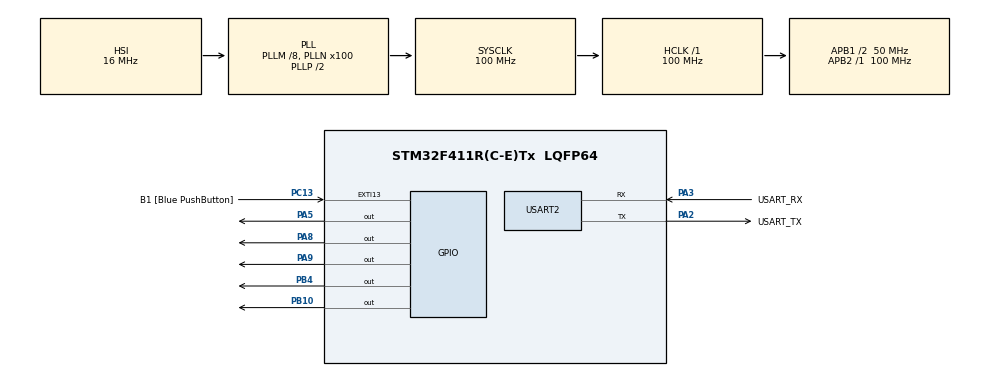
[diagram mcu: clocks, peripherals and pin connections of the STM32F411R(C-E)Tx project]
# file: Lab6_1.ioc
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FREERTOS.Mutexes01=UartMutex,Dynamic,NULL,Available
FREERTOS.Queues01=myQueue01,16,uint32_t,0,Dynamic,NULL,NULL
FREERTOS.Tasks01=defaultTask,0,128,StartDefaultTask,Default,NULL,Dynamic,NULL,NULL
Mcu.Family=STM32F4
Mcu.Name=STM32F411R(C-E)Tx
Mcu.Package=LQFP64
NVIC.PriorityGroup=NVIC_PRIORITYGROUP_4
PA13.GPIO_Label=TMS
PA13.Mode=Serial_Wire
PA13.Signal=SYS_JTMS-SWDIO
PA14.GPIO_Label=TCK
PA14.Mode=Serial_Wire
PA14.Signal=SYS_JTCK-SWCLK
PA2.GPIO_Label=USART_TX
PA2.Mode=Asynchronous
PA2.Signal=USART2_TX
PA3.GPIO_Label=USART_RX
PA3.Mode=Asynchronous
PA3.Signal=USART2_RX
PA5.Signal=GPIO_Output
PA8.Signal=GPIO_Output
PA9.Signal=GPIO_Output
PB10.Signal=GPIO_Output
PB3.GPIO_Label=SWO
PB3.Signal=SYS_JTDO-SWO
PB4.Signal=GPIO_Output
PC13-ANTI_TAMP.GPIO_Label=B1 [Blue PushButton]
PC13-ANTI_TAMP.GPIO_ModeDefaultEXTI=GPIO_MODE_IT_FALLING
PC13-ANTI_TAMP.Signal=GPXTI13
PC14-OSC32_IN.Mode=LSE-External-Oscillator
PC14-OSC32_IN.Signal=RCC_OSC32_IN
PC15-OSC32_OUT.Mode=LSE-External-Oscillator
PC15-OSC32_OUT.Signal=RCC_OSC32_OUT
PH0\ -\ OSC_IN.Mode=HSE-External-Clock-Source
PH0\ -\ OSC_IN.Signal=RCC_OSC_IN
PH1\ -\ OSC_OUT.Mode=HSE-External-Clock-Source
PH1\ -\ OSC_OUT.Signal=RCC_OSC_OUT
ProjectManager.HeapSize=0x200
ProjectManager.StackSize=0x400
ProjectManager.TargetToolchain=STM32CubeIDE
RCC.48MHZClocksFreq_Value=50000000
RCC.AHBFreq_Value=100000000
RCC.APB1CLKDivider=RCC_HCLK_DIV2
RCC.APB1Freq_Value=50000000
RCC.APB1TimFreq_Value=100000000
RCC.APB2Freq_Value=100000000
RCC.APB2TimFreq_Value=100000000
RCC.CortexFreq_Value=100000000
RCC.FLatency-AdvancedSettings=FLASH_LATENCY_3
RCC.HCLKFreq_Value=100000000
RCC.HSE_VALUE=8000000
RCC.HSI_VALUE=16000000
RCC.PLLM=8
RCC.PLLN=100
RCC.SYSCLKFreq_VALUE=100000000
RCC.SYSCLKSource=RCC_SYSCLKSOURCE_PLLCLK
RCC.VCOOutputFreq_Value=200000000
USART2.VirtualMode=VM_ASYNC
VP_FREERTOS_VS_CMSIS_V1.Mode=CMSIS_V1
board=NUCLEO-F411RE

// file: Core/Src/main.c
/* USER CODE BEGIN Header */
/**
  ******************************************************************************
  * @file           : main.c
  * @brief          : Main program body
  ******************************************************************************
  * @attention
  *
  * Copyright (c) 2026 STMicroelectronics.
  * All rights reserved.
  *
  * This software is licensed under terms that can be found in the LICENSE file
  * in the root directory of this software component.
  * If no LICENSE file comes with this software, it is provided AS-IS.
  *
  ******************************************************************************
  */
/* USER CODE END Header */
#include "main.h"
#include "cmsis_os.h"

UART_HandleTypeDef huart2;

osThreadId defaultTaskHandle;
/* USER CODE BEGIN PV */
osThreadId thread1Handle;
osThreadId thread2Handle;
osThreadId thread3Handle;
osThreadId thread4Handle;
/* USER CODE END PV */

void SystemClock_Config(void);
static void MX_GPIO_Init(void);
static void MX_USART2_UART_Init(void);
void StartDefaultTask(void const * argument);

/* USER CODE BEGIN PFP */
void Thread1_50ms(void const *argument);
void Thread2_18ms(void const *argument);
void Thread3_128ms(void const *argument);
void Thread4_64ms(void const *argument);
/* USER CODE END PFP */

int main(void)
{

  /* MCU Configuration--------------------------------------------------------*/

  /* Reset of all peripherals, Initializes the Flash interface and the Systick. */
  HAL_Init();

  /* Configure the system clock */
  SystemClock_Config();

  /* Initialize all configured peripherals */
  MX_GPIO_Init();
  MX_USART2_UART_Init();
  /* USER CODE BEGIN 2 */

  // Thread 1 (50 ms)
  osThreadDef(Task1, Thread1_50ms, osPriorityNormal, 0, 128);
  thread1Handle = osThreadCreate(osThread(Task1), NULL);

  // Thread 2 (18 ms)
  osThreadDef(Task2, Thread2_18ms, osPriorityNormal, 0, 128);
  thread2Handle = osThreadCreate(osThread(Task2), NULL);

  // Thread 3 (128 ms)
  osThreadDef(Task3, Thread3_128ms, osPriorityNormal, 0, 128);
  thread3Handle = osThreadCreate(osThread(Task3), NULL);

  // Thread 4 (64 ms)
  osThreadDef(Task4, Thread4_64ms, osPriorityNormal, 0, 128);
  thread4Handle = osThreadCreate(osThread(Task4), NULL);

  /* USER CODE END 2 */

  /* Create the thread(s) */
  /* definition and creation of defaultTask */
  osThreadDef(defaultTask, StartDefaultTask, osPriorityNormal, 0, 128);
  defaultTaskHandle = osThreadCreate(osThread(defaultTask), NULL);

  /* Start scheduler */
  osKernelStart();

  /* We should never get here as control is now taken by the scheduler */

  /* Infinite loop */
  while (1)
  {

  }
}

void SystemClock_Config(void)
{
  RCC_OscInitTypeDef RCC_OscInitStruct = {0};
  RCC_ClkInitTypeDef RCC_ClkInitStruct = {0};

  /** Configure the main internal regulator output voltage
  */
  __HAL_RCC_PWR_CLK_ENABLE();
  __HAL_PWR_VOLTAGESCALING_CONFIG(PWR_REGULATOR_VOLTAGE_SCALE1);

  /** Initializes the RCC Oscillators according to the specified parameters
  * in the RCC_OscInitTypeDef structure.
  */
  RCC_OscInitStruct.OscillatorType = RCC_OSCILLATORTYPE_HSI;
  RCC_OscInitStruct.HSIState = RCC_HSI_ON;
  RCC_OscInitStruct.HSICalibrationValue = RCC_HSICALIBRATION_DEFAULT;
  RCC_OscInitStruct.PLL.PLLState = RCC_PLL_ON;
  RCC_OscInitStruct.PLL.PLLSource = RCC_PLLSOURCE_HSI;
  RCC_OscInitStruct.PLL.PLLM = 8;
  RCC_OscInitStruct.PLL.PLLN = 100;
  RCC_OscInitStruct.PLL.PLLP = RCC_PLLP_DIV2;
  RCC_OscInitStruct.PLL.PLLQ = 4;
  if (HAL_RCC_OscConfig(&RCC_OscInitStruct) != HAL_OK)
  {
    Error_Handler();
  }

  /** Initializes the CPU, AHB and APB buses clocks
  */
  RCC_ClkInitStruct.ClockType = RCC_CLOCKTYPE_HCLK|RCC_CLOCKTYPE_SYSCLK
                              |RCC_CLOCKTYPE_PCLK1|RCC_CLOCKTYPE_PCLK2;
  RCC_ClkInitStruct.SYSCLKSource = RCC_SYSCLKSOURCE_PLLCLK;
  RCC_ClkInitStruct.AHBCLKDivider = RCC_SYSCLK_DIV1;
  RCC_ClkInitStruct.APB1CLKDivider = RCC_HCLK_DIV2;
  RCC_ClkInitStruct.APB2CLKDivider = RCC_HCLK_DIV1;

  if (HAL_RCC_ClockConfig(&RCC_ClkInitStruct, FLASH_LATENCY_3) != HAL_OK)
  {
    Error_Handler();
  }
}

static void MX_USART2_UART_Init(void)
{

  huart2.Instance = USART2;
  huart2.Init.BaudRate = 115200;
  huart2.Init.WordLength = UART_WORDLENGTH_8B;
  huart2.Init.StopBits = UART_STOPBITS_1;
  huart2.Init.Parity = UART_PARITY_NONE;
  huart2.Init.Mode = UART_MODE_TX_RX;
  huart2.Init.HwFlowCtl = UART_HWCONTROL_NONE;
  huart2.Init.OverSampling = UART_OVERSAMPLING_16;
  if (HAL_UART_Init(&huart2) != HAL_OK)
  {
    Error_Handler();
  }

}

static void MX_GPIO_Init(void)
{
  GPIO_InitTypeDef GPIO_InitStruct = {0};

  /* GPIO Ports Clock Enable */
  __HAL_RCC_GPIOC_CLK_ENABLE();
  __HAL_RCC_GPIOH_CLK_ENABLE();
  __HAL_RCC_GPIOA_CLK_ENABLE();
  __HAL_RCC_GPIOB_CLK_ENABLE();

  /*Configure GPIO pin Output Level */
  HAL_GPIO_WritePin(GPIOA, GPIO_PIN_5|GPIO_PIN_8|GPIO_PIN_9, GPIO_PIN_RESET);

  /*Configure GPIO pin Output Level */
  HAL_GPIO_WritePin(GPIOB, GPIO_PIN_10|GPIO_PIN_4, GPIO_PIN_RESET);

  /*Configure GPIO pin : B1_Pin */
  GPIO_InitStruct.Pin = B1_Pin;
  GPIO_InitStruct.Mode = GPIO_MODE_IT_FALLING;
  GPIO_InitStruct.Pull = GPIO_NOPULL;
  HAL_GPIO_Init(B1_GPIO_Port, &GPIO_InitStruct);

  /*Configure GPIO pins : PA5 PA8 PA9 */
  GPIO_InitStruct.Pin = GPIO_PIN_5|GPIO_PIN_8|GPIO_PIN_9;
  GPIO_InitStruct.Mode = GPIO_MODE_OUTPUT_PP;
  GPIO_InitStruct.Pull = GPIO_NOPULL;
  GPIO_InitStruct.Speed = GPIO_SPEED_FREQ_LOW;
  HAL_GPIO_Init(GPIOA, &GPIO_InitStruct);

  /*Configure GPIO pins : PB10 PB4 */
  GPIO_InitStruct.Pin = GPIO_PIN_10|GPIO_PIN_4;
  GPIO_InitStruct.Mode = GPIO_MODE_OUTPUT_PP;
  GPIO_InitStruct.Pull = GPIO_NOPULL;
  GPIO_InitStruct.Speed = GPIO_SPEED_FREQ_LOW;
  HAL_GPIO_Init(GPIOB, &GPIO_InitStruct);

}

/* USER CODE BEGIN 4 */

// Thread1_50ms
void Thread1_50ms(void const *argument) {
  while (1) {
    HAL_GPIO_TogglePin(GPIOA, GPIO_PIN_5);
    osDelay(50);
  }
}

//Thread2_18ms
void Thread2_18ms(void const *argument) {
  while (1) {
    HAL_GPIO_TogglePin(GPIOA, GPIO_PIN_8);
    osDelay(18);
  }
}

//Thread3_128ms
void Thread3_128ms(void const *argument) {
  while (1) {
    HAL_GPIO_TogglePin(GPIOB, GPIO_PIN_10);
    osDelay(128);
  }
}

//Thread4_64ms
void Thread4_64ms(void const *argument) {
  while (1) {
    HAL_GPIO_TogglePin(GPIOB, GPIO_PIN_4);
    osDelay(64);
  }
}

/* USER CODE END 4 */

void StartDefaultTask(void const * argument)
{
  for(;;)
  {
    osDelay(1);
  }
}

void Error_Handler(void)
{
  __disable_irq();
  while (1)
  {
  }
}
